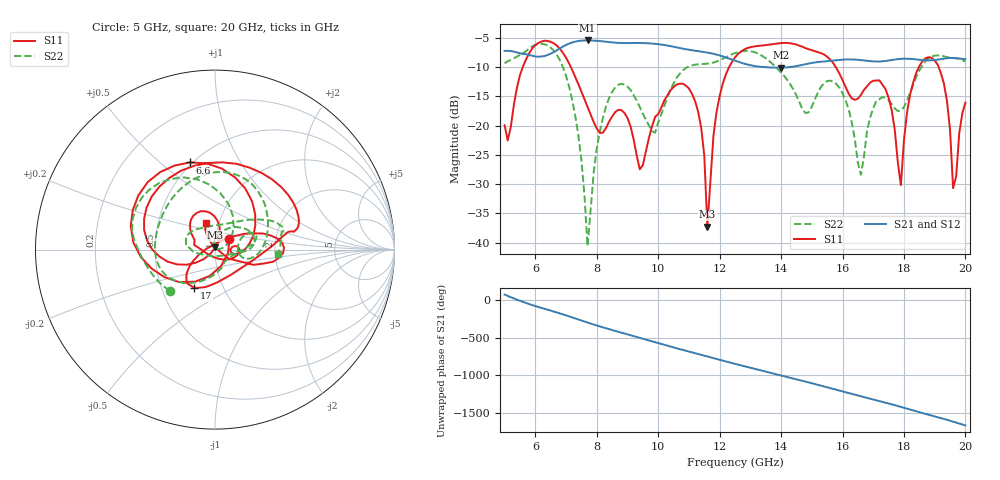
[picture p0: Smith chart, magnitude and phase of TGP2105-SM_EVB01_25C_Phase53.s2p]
! Date: Wednesday, June 05, 2013  1:52 PM
! Filename: C:\Data\Mike_Arnold\TGP2105-SM\Over_Temp\TGP2105-SM_EVB01_25C_Phase53.s2p
! Comments:
!^VDC(V):5.000
!^VDC(mA):0.096
!%Freq(GHz),S11(dB),S11(ang),S21(dB),S21(ang),S12(dB),S12(ang),S22(dB),S22(ang)
# GHz  S  DB  R  50
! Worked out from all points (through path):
!   151 points, 5 GHz to 20 GHz, reference 50 ohm
!   highest |S21| = -5.44 dB at 7.7 GHz (marker M1); lowest = -10.1 dB at 14 GHz (marker M2)
!   lowest |S11| = -37.3 dB at 11.6 GHz (marker M3), VSWR 1.03, Z = 50.2 + j1.35 ohm
!   |S11| at or under -10 dB: 7.156 GHz to 12.31 GHz (5.153 GHz wide, 52.9 % of centre); 15.78 GHz to 18.49 GHz (2.707 GHz wide, 15.8 % of centre); 19.13 GHz to end of sweep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
!   |S22| runs from -40.6 to -6.0 dB; largest |S21 - S12| = 0.0022
!   S11 on the Smith chart (normalised r, x): 5 GHz: 1.17, +0.14; 6.6 GHz: 0.49, +0.63; 17 GHz: 0.73, -0.33; 20 GHz: 0.87, +0.27
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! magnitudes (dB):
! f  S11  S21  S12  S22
! 5 GHz  -19.9  -7.2  -7.2  -9.4
! 6.6 GHz  -5.9  -7.4  -7.5  -7.2
! 7.5 GHz  -14.2  -5.5  -5.5  -25.9
! 7.7 GHz  -16.7  -5.4  -5.5  -40.6
! 8.5 GHz  -18.5  -5.8  -5.8  -14.3
! 9.4 GHz  -27.5  -5.9  -5.9  -16.8
! 10 GHz  -18.0  -6.1  -6.1  -19.4
! 11.1 GHz  -14.6  -7.1  -7.1  -9.7
! 11.6 GHz  -37.3  -7.5  -7.5  -9.4
! 11.9 GHz  -17.7  -7.9  -7.9  -9.0
! 12.5 GHz  -8.4  -8.9  -8.9  -7.6
! 14 GHz  -5.9  -10.1  -10.1  -10.9
! 15 GHz  -7.1  -9.3  -9.3  -16.8
! 15.9 GHz  -11.1  -8.8  -8.8  -13.5
! 16.6 GHz  -14.7  -8.8  -8.8  -28.4
! 17 GHz  -12.3  -9.0  -9.0  -17.0
! 17.5 GHz  -15.2  -8.9  -8.9  -15.7
! 17.9 GHz  -30.2  -8.6  -8.6  -17.4
! 18.6 GHz  -9.0  -8.8  -8.8  -9.7
! 19.3 GHz  -12.8  -8.6  -8.6  -8.1
! 19.6 GHz  -30.7  -8.4  -8.5  -8.5
! 20 GHz  -16.1  -8.7  -8.7  -9.1
